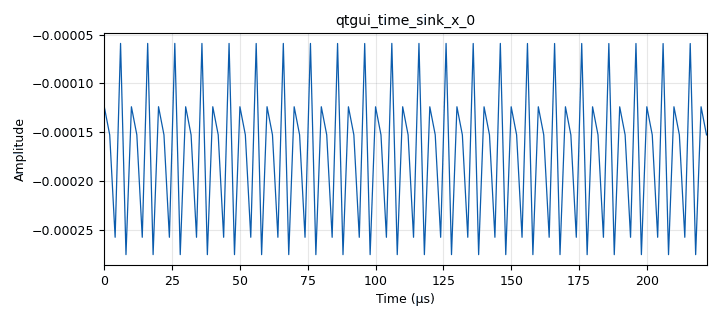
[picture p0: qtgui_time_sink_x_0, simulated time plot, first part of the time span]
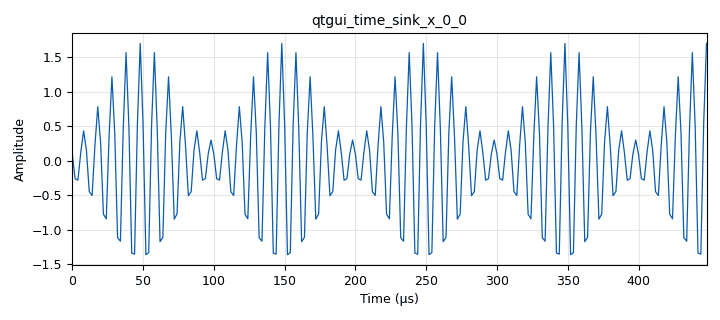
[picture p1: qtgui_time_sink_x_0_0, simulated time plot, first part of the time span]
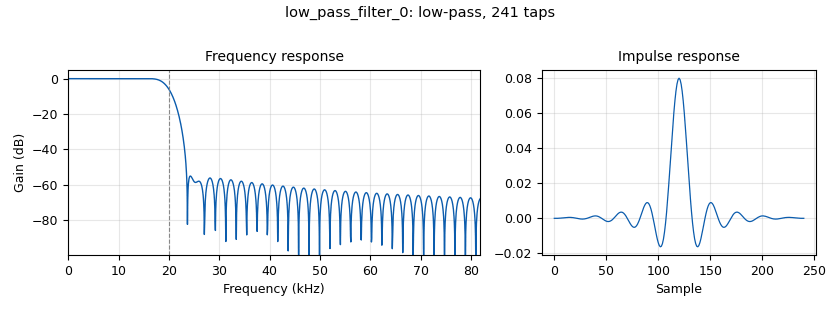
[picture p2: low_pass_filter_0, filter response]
<?xml version='1.0' encoding='utf-8'?>
<?grc format='1' created='3.7.9'?>
<flow_graph>
<block>
<key>options</key>
<param><key>id</key><value>top_block</value></param>
<param><key>category</key><value>Custom</value></param>
<param><key>generate_options</key><value>qt_gui</value></param>
</block>
<block>
<key>variable</key>
<param><key>id</key><value>samp_rate</value></param>
<param><key>value</key><value>500e3</value></param>
</block>
<block>
<key>analog_sig_source_x</key>
<param><key>id</key><value>analog_sig_source_x_0</value></param>
<param><key>amp</key><value>1</value></param>
<param><key>freq</key><value>10000</value></param>
<param><key>offset</key><value>0</value></param>
<param><key>type</key><value>float</value></param>
<param><key>samp_rate</key><value>samp_rate</value></param>
<param><key>waveform</key><value>analog.GR_COS_WAVE</value></param>
</block>
<block>
<key>analog_sig_source_x</key>
<param><key>id</key><value>analog_sig_source_x_1</value></param>
<param><key>amp</key><value>1</value></param>
<param><key>freq</key><value>100000</value></param>
<param><key>offset</key><value>0</value></param>
<param><key>type</key><value>float</value></param>
<param><key>samp_rate</key><value>samp_rate</value></param>
<param><key>waveform</key><value>analog.GR_COS_WAVE</value></param>
</block>
<block>
<key>blocks_abs_xx</key>
<param><key>id</key><value>blocks_abs_xx_0</value></param>
<param><key>_enabled</key><value>0</value></param>
<param><key>type</key><value>float</value></param>
</block>
<block>
<key>blocks_add_const_vxx</key>
<param><key>id</key><value>blocks_add_const_vxx_0</value></param>
<param><key>const</key><value>1</value></param>
<param><key>type</key><value>float</value></param>
</block>
<block>
<key>blocks_multiply_const_vxx</key>
<param><key>id</key><value>blocks_multiply_const_vxx_0</value></param>
<param><key>const</key><value>0.7</value></param>
<param><key>type</key><value>float</value></param>
</block>
<block>
<key>blocks_multiply_xx</key>
<param><key>id</key><value>blocks_multiply_xx_0</value></param>
<param><key>type</key><value>float</value></param>
</block>
<block>
<key>dc_blocker_xx</key>
<param><key>id</key><value>dc_blocker_xx_0</value></param>
<param><key>_enabled</key><value>0</value></param>
<param><key>length</key><value>32</value></param>
<param><key>long_form</key><value>True</value></param>
<param><key>type</key><value>cc</value></param>
</block>
<block>
<key>low_pass_filter</key>
<param><key>id</key><value>low_pass_filter_0</value></param>
<param><key>cutoff_freq</key><value>20e3</value></param>
<param><key>decim</key><value>30</value></param>
<param><key>type</key><value>fir_filter_fff</value></param>
<param><key>gain</key><value>1</value></param>
<param><key>samp_rate</key><value>samp_rate</value></param>
<param><key>width</key><value>5e3</value></param>
<param><key>win</key><value>firdes.WIN_HAMMING</value></param>
</block>
<block>
<key>qtgui_time_sink_x</key>
<param><key>id</key><value>qtgui_time_sink_x_0</value></param>
<param><key>autoscale</key><value>True</value></param>
<param><key>color1</key><value>"blue"</value></param>
<param><key>label1</key><value></value></param>
<param><key>size</key><value>1024</value></param>
<param><key>srate</key><value>samp_rate</value></param>
<param><key>type</key><value>float</value></param>
</block>
<block>
<key>qtgui_time_sink_x</key>
<param><key>id</key><value>qtgui_time_sink_x_0_0</value></param>
<param><key>autoscale</key><value>True</value></param>
<param><key>color1</key><value>"blue"</value></param>
<param><key>label1</key><value></value></param>
<param><key>size</key><value>1024</value></param>
<param><key>srate</key><value>samp_rate</value></param>
<param><key>type</key><value>float</value></param>
</block>
<connection><source_block_id>analog_sig_source_x_0</source_block_id><sink_block_id>blocks_multiply_const_vxx_0</sink_block_id><source_key>0</source_key><sink_key>0</sink_key></connection>
<connection><source_block_id>analog_sig_source_x_1</source_block_id><sink_block_id>blocks_multiply_xx_0</sink_block_id><source_key>0</source_key><sink_key>1</sink_key></connection>
<connection><source_block_id>blocks_add_const_vxx_0</source_block_id><sink_block_id>blocks_multiply_xx_0</sink_block_id><source_key>0</source_key><sink_key>0</sink_key></connection>
<connection><source_block_id>blocks_multiply_const_vxx_0</source_block_id><sink_block_id>blocks_add_const_vxx_0</sink_block_id><source_key>0</source_key><sink_key>0</sink_key></connection>
<connection><source_block_id>blocks_multiply_xx_0</source_block_id><sink_block_id>blocks_abs_xx_0</sink_block_id><source_key>0</source_key><sink_key>0</sink_key></connection>
<connection><source_block_id>blocks_multiply_xx_0</source_block_id><sink_block_id>low_pass_filter_0</sink_block_id><source_key>0</source_key><sink_key>0</sink_key></connection>
<connection><source_block_id>blocks_multiply_xx_0</source_block_id><sink_block_id>qtgui_time_sink_x_0_0</sink_block_id><source_key>0</source_key><sink_key>0</sink_key></connection>
<connection><source_block_id>low_pass_filter_0</source_block_id><sink_block_id>qtgui_time_sink_x_0</sink_block_id><source_key>0</source_key><sink_key>0</sink_key></connection>
</flow_graph>
